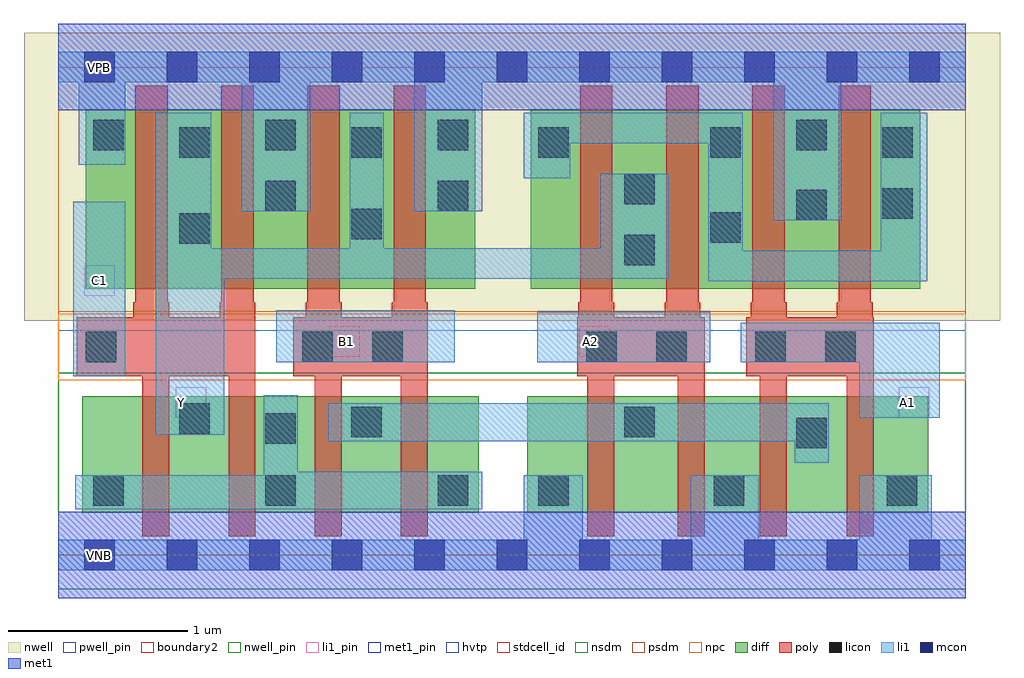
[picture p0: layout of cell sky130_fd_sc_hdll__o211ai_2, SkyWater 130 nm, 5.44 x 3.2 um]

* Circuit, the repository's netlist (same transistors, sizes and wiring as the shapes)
* Copyright 2020 The SkyWater PDK Authors
*
* Licensed under the Apache License, Version 2.0 (the "License");
* you may not use this file except in compliance with the License.
* You may obtain a copy of the License at
*
*     https://www.apache.org/licenses/LICENSE-2.0
*
* Unless required by applicable law or agreed to in writing, software
* distributed under the License is distributed on an "AS IS" BASIS,
* WITHOUT WARRANTIES OR CONDITIONS OF ANY KIND, either express or implied.
* See the License for the specific language governing permissions and
* limitations under the License.
*
* SPDX-License-Identifier: Apache-2.0

.SUBCKT sky130_fd_sc_hdll__o211ai_2 A1 A2 B1 C1 VGND VNB VPB VPWR Y
*.PININFO A1:I A2:I B1:I C1:I VGND:I VNB:I VPB:I VPWR:I Y:O
MMPA0 VPWR A1 sndA1 VPB sky130_fd_pr__pfet_01v8_hvt m=2 w=1.0U l=0.18U mult=1 sa=0.265
+ sb=0.265 sd=0.28 area=0.063 perim=1.14
MMPA1 sndA1 A2 Y VPB sky130_fd_pr__pfet_01v8_hvt m=2 w=1.0U l=0.18U mult=1 sa=0.265
+ sb=0.265 sd=0.28 area=0.063 perim=1.14
MMPB0 VPWR B1 Y VPB sky130_fd_pr__pfet_01v8_hvt m=2 w=1.0U l=0.18U mult=1 sa=0.265
+ sb=0.265 sd=0.28 area=0.063 perim=1.14
MMPC0 VPWR C1 Y VPB sky130_fd_pr__pfet_01v8_hvt m=2 w=1.0U l=0.18U mult=1 sa=0.265
+ sb=0.265 sd=0.28 area=0.063 perim=1.14
MMNA0 pndA A1 VGND VNB sky130_fd_pr__nfet_01v8 m=2 w=0.65U l=0.15U mult=1 sa=0.265
+ sb=0.265 sd=0.28 area=0.063 perim=1.14
MMNA1 pndA A2 VGND VNB sky130_fd_pr__nfet_01v8 m=2 w=0.65U l=0.15U mult=1 sa=0.265
+ sb=0.265 sd=0.28 area=0.063 perim=1.14
MMNB0 pndB B1 pndA VNB sky130_fd_pr__nfet_01v8 m=2 w=0.65U l=0.15U mult=1 sa=0.265
+ sb=0.265 sd=0.28 area=0.063 perim=1.14
MMNC0 Y C1 pndB VNB sky130_fd_pr__nfet_01v8 m=2 w=0.65U l=0.15U mult=1 sa=0.265
+ sb=0.265 sd=0.28 area=0.063 perim=1.14
.ENDS sky130_fd_sc_hdll__o211ai_2

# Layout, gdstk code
import gdstk
lib = gdstk.Library(unit=1e-6, precision=1e-09)
def R(c, l, rs):  # rectangles x0, y0, x1, y1
    for r in rs: c.add(gdstk.rectangle(r[:2], r[2:], *l))
def A(c, l, x, y, w, h, nx, ny, dx, dy):  # array of equal rectangles
    R(c, l, [(x+i*dx, y+j*dy, x+i*dx+w, y+j*dy+h) for i in range(nx) for j in range(ny)])
def P(c, l, *ps):  # polygons
    for p in ps: c.add(gdstk.Polygon(p, *l))
nwell_pin = (64, 16)
nwell = (64, 20)
diff = (65, 20)
poly = (66, 20)
licon = (66, 44)
li1_pin = (67, 16)
li1 = (67, 20)
mcon = (67, 44)
met1_pin = (68, 16)
met1 = (68, 20)
hvtp = (78, 44)
stdcell_id = (81, 4)
nsdm = (93, 44)
psdm = (94, 20)
npc = (95, 20)
pwell_pin = (122, 16)
boundary2 = (236, 0)

sky130_fd_sc_hdll__o211a = lib.new_cell('sky130_fd_sc_hdll__o211ai_2')
R(sky130_fd_sc_hdll__o211a, nwell_pin, [(0.145,2.635,0.315,2.805)])
R(sky130_fd_sc_hdll__o211a, nwell, [(-0.19,1.305,5.25,2.91)])
R(sky130_fd_sc_hdll__o211a, diff, [(0.135,0.235,2.345,0.885), (2.615,0.235,4.85,0.885), (0.155,1.485,2.325,2.485), (2.635,1.485,4.805,2.485)])
P(sky130_fd_sc_hdll__o211a, poly, [(1.1,1.41),(1.09,1.41),(1.09,2.615),(0.91,2.615),(0.91,1.41),(0.9,1.41),(0.9,1.325),(0.62,1.325),(0.62,1.41),(0.61,1.41),(0.61,2.615),(0.43,2.615),(0.43,1.41),(0.42,1.41),(0.42,1.325),(0.105,1.325),(0.105,0.995),(0.47,0.995),(0.47,0.105),(0.62,0.105),(0.62,0.995),(0.95,0.995),(0.95,0.105),(1.1,0.105)],
  [(2.06,1.41),(2.05,1.41),(2.05,2.615),(1.87,2.615),(1.87,1.41),(1.86,1.41),(1.86,1.325),(1.58,1.325),(1.58,1.41),(1.57,1.41),(1.57,2.615),(1.39,2.615),(1.39,1.41),(1.38,1.41),(1.38,1.325),(1.31,1.325),(1.31,0.995),(1.43,0.995),(1.43,0.105),(1.58,0.105),(1.58,0.995),(1.91,0.995),(1.91,0.105),(2.06,0.105)],
  [(3.605,1.325),(3.58,1.325),(3.58,1.41),(3.57,1.41),(3.57,2.615),(3.39,2.615),(3.39,1.41),(3.38,1.41),(3.38,1.325),(3.1,1.325),(3.1,1.41),(3.09,1.41),(3.09,2.615),(2.91,2.615),(2.91,1.41),(2.9,1.41),(2.9,1.325),(2.895,1.325),(2.895,0.995),(2.95,0.995),(2.95,0.105),(3.1,0.105),(3.1,0.995),(3.455,0.995),(3.455,0.105),(3.605,0.105)],
  [(4.545,1.325),(4.54,1.325),(4.54,1.41),(4.53,1.41),(4.53,2.615),(4.35,2.615),(4.35,1.41),(4.34,1.41),(4.34,1.325),(4.06,1.325),(4.06,1.41),(4.05,1.41),(4.05,2.615),(3.87,2.615),(3.87,1.41),(3.86,1.41),(3.86,1.325),(3.835,1.325),(3.835,0.995),(3.91,0.995),(3.91,0.105),(4.06,0.105),(4.06,0.995),(4.395,0.995),(4.395,0.105),(4.545,0.105)])
A(sky130_fd_sc_hdll__o211a, licon, 0.195, 0.275, 0.17, 0.17, 3, 2, 0.96, 1.98)
A(sky130_fd_sc_hdll__o211a, licon, 2.675, 2.215, 0.17, 0.17, 3, 1, 0.96, 0)
R(sky130_fd_sc_hdll__o211a, licon, [(2.675,0.275,2.845,0.445), (3.655,0.275,3.825,0.445), (4.62,0.275,4.79,0.445), (4.115,0.595,4.285,0.765), (1.155,0.62,1.325,0.79), (1.635,0.655,1.805,0.825), (3.155,0.655,3.325,0.825), (0.675,0.675,0.845,0.845), (0.155,1.075,0.325,1.245), (1.36,1.075,1.53,1.245), (1.75,1.075,1.92,1.245), (2.945,1.075,3.115,1.245), (3.335,1.075,3.505,1.245), (3.885,1.075,4.055,1.245), (4.275,1.075,4.445,1.245), (3.155,1.615,3.325,1.785), (0.675,1.735,0.845,1.905), (3.635,1.74,3.805,1.91), (1.635,1.76,1.805,1.93), (4.115,1.865,4.285,2.035), (4.595,1.875,4.765,2.045), (1.155,1.915,1.325,2.085), (2.115,1.915,2.285,2.085), (3.155,1.955,3.325,2.125), (0.675,2.215,0.845,2.385), (1.635,2.215,1.805,2.385), (4.115,2.255,4.285,2.425)])
R(sky130_fd_sc_hdll__o211a, li1_pin, [(0.655,0.765,0.825,0.935), (4.685,0.765,4.855,0.935), (1.51,1.105,1.68,1.275), (2.905,1.105,3.075,1.275), (0.145,1.445,0.315,1.615)])
R(sky130_fd_sc_hdll__o211a, li1, [(0.085,0.995,0.375,1.97), (1.215,1.075,2.21,1.365), (2.67,1.075,3.635,1.355)])
P(sky130_fd_sc_hdll__o211a, li1, [(5.06,0.085),(4.87,0.085),(4.87,0.445),(4.465,0.445),(4.465,0.085),(3.905,0.085),(3.905,0.445),(3.525,0.445),(3.525,0.085),(2.925,0.085),(2.925,0.445),(2.595,0.445),(2.595,0.085),(0,0.085),(0,-0.085),(5.06,-0.085)],
  [(5.06,2.805),(0,2.805),(0,2.635),(0.115,2.635),(0.115,2.175),(0.375,2.175),(0.375,2.635),(1.025,2.635),(1.025,1.915),(1.405,1.915),(1.405,2.635),(1.985,2.635),(1.985,1.915),(2.365,1.915),(2.365,2.635),(3.985,2.635),(3.985,1.865),(4.365,1.865),(4.365,2.635),(5.06,2.635)],
  [(2.365,0.465),(1.335,0.465),(1.335,0.89),(1.145,0.89),(1.145,0.445),(0.095,0.445),(0.095,0.255),(2.365,0.255)],
  [(3.405,2.125),(3.025,2.125),(3.025,1.71),(1.815,1.71),(1.815,2.465),(1.625,2.465),(1.625,1.71),(0.855,1.71),(0.855,2.465),(0.545,2.465),(0.545,0.67),(0.925,0.67),(0.925,1.54),(3.405,1.54)],
  [(4.295,0.845),(1.505,0.845),(1.505,0.635),(4.105,0.635),(4.105,0.515),(4.295,0.515)],
  [(4.845,2.465),(4.585,2.465),(4.585,1.695),(3.815,1.695),(3.815,2.465),(2.595,2.465),(2.595,2.1),(2.855,2.1),(2.855,2.295),(3.625,2.295),(3.625,1.525),(4.845,1.525)],
  [(4.915,1.295),(3.805,1.295),(3.805,1.075),(4.465,1.075),(4.465,0.765),(4.915,0.765)])
A(sky130_fd_sc_hdll__o211a, mcon, 0.145, -0.085, 0.17, 0.17, 11, 2, 0.46, 2.72)
R(sky130_fd_sc_hdll__o211a, met1_pin, [(0.145,-0.085,0.315,0.085), (0.145,2.635,0.315,2.805)])
R(sky130_fd_sc_hdll__o211a, met1, [(0,-0.24,5.06,0.24), (0,2.48,5.06,2.96)])
R(sky130_fd_sc_hdll__o211a, hvtp, [(0,1.25,5.06,2.72)])
R(sky130_fd_sc_hdll__o211a, stdcell_id, [(0,0,5.06,2.72)])
R(sky130_fd_sc_hdll__o211a, nsdm, [(0,-0.19,5.06,1.015)])
R(sky130_fd_sc_hdll__o211a, psdm, [(0,1.355,5.06,2.91)])
R(sky130_fd_sc_hdll__o211a, npc, [(0,0.975,5.06,1.345)])
R(sky130_fd_sc_hdll__o211a, pwell_pin, [(0.145,-0.085,0.315,0.085)])
R(sky130_fd_sc_hdll__o211a, boundary2, [(0,0,5.06,2.72)])
sky130_fd_sc_hdll__o211a.add(gdstk.Label('A1', (4.735,0.85), layer=67, texttype=5))
sky130_fd_sc_hdll__o211a.add(gdstk.Label('A2', (2.97,1.19), layer=67, texttype=5))
sky130_fd_sc_hdll__o211a.add(gdstk.Label('B1', (1.61,1.19), layer=67, texttype=5))
sky130_fd_sc_hdll__o211a.add(gdstk.Label('Y', (0.69,0.85), layer=67, texttype=5))
sky130_fd_sc_hdll__o211a.add(gdstk.Label('C1', (0.23,1.53), layer=67, texttype=5))
sky130_fd_sc_hdll__o211a.add(gdstk.Label('VNB', (0.23,0), layer=64, texttype=59))
sky130_fd_sc_hdll__o211a.add(gdstk.Label('VPB', (0.23,2.72), layer=64, texttype=5))
sky130_fd_sc_hdll__o211a.add(gdstk.Label('VGND', (0.23,0), layer=68, texttype=5))
sky130_fd_sc_hdll__o211a.add(gdstk.Label('VPWR', (0.23,2.72), layer=68, texttype=5))
sky130_fd_sc_hdll__o211a.add(gdstk.Label('o211ai_2', (0,0), layer=83, texttype=44))

lib.write_gds('sky130_fd_sc_hdll__o211ai_2.gds')
